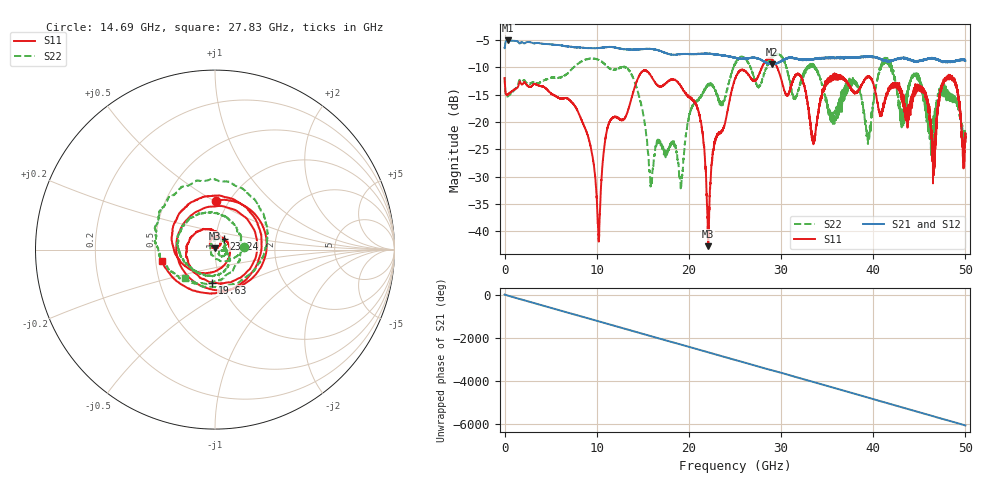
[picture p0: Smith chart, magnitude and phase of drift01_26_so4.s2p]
!Created with skrf (http://scikit-rf.org).
# Hz S RI R 50.0
!freq ReS11 ImS11 ReS21 ImS21 ReS12 ImS12 ReS22 ImS22
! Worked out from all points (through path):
!   10001 points, 300 kHz to 50 GHz, reference 50 ohm
!   highest |S21| = -5.05 dB at 365.3 MHz (marker M1); lowest = -9.4 dB at 29.03 GHz (marker M2)
!   group delay of S21, straight-line fit = 336 ps
!   lowest |S11| = -42.7 dB at 22.09 GHz (marker M3), VSWR 1.01, Z = 49.9 + j0.722 ohm
!   |S11| at or under -10 dB: start of sweep to 27.92 GHz; 29.59 GHz to end of sweep
!   |S22| runs from -32.2 to -7.5 dB; largest |S21 - S12| = 0.012
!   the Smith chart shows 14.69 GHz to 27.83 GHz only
!   S11 on the Smith chart (normalised r, x): 14.69 GHz: 0.87, +0.52; 19.63 GHz: 0.90, -0.34; 23.24 GHz: 1.09, +0.14; 27.83 GHz: 0.54, -0.08
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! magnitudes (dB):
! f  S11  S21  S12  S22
! 300 kHz  -11.9  -6.4  -6.5  -11.8
! 365.3 MHz  -14.9  -5.1  -5.1  -15.2
! 8.335 GHz  -19.5  -6.4  -6.4  -8.9
! 10.2 GHz  -41.2  -6.4  -6.4  -8.6
! 11.23 GHz  -20.7  -6.3  -6.3  -10.0
! 14.69 GHz  -11.3  -6.7  -6.7  -15.9
! 15.88 GHz  -11.5  -6.6  -6.6  -31.1
! 16.67 GHz  -13.4  -6.9  -6.9  -23.2
! 19.63 GHz  -14.7  -7.5  -7.5  -23.0
! 21.24 GHz  -19.5  -7.5  -7.5  -15.4
! 22.09 GHz  -42.7  -7.5  -7.5  -13.2
! 23.24 GHz  -22.1  -7.7  -7.7  -15.8
! 25 GHz  -12.1  -8.2  -8.3  -9.4
! 27.83 GHz  -10.3  -8.6  -8.6  -12.7
! 29.03 GHz  -8.6  -9.4  -9.4  -8.2
! 33.34 GHz  -22.9  -8.5  -8.5  -9.5
! 39.47 GHz  -11.7  -8.0  -8.0  -22.2
! 41.67 GHz  -13.8  -8.8  -8.8  -8.8
! 45.47 GHz  -14.1  -8.6  -8.6  -15.8
! 46.55 GHz  -29.7  -8.4  -8.3  -20.0
! 48.52 GHz  -11.7  -8.9  -8.9  -15.3
! 50 GHz  -22.8  -8.8  -8.7  -23.0
